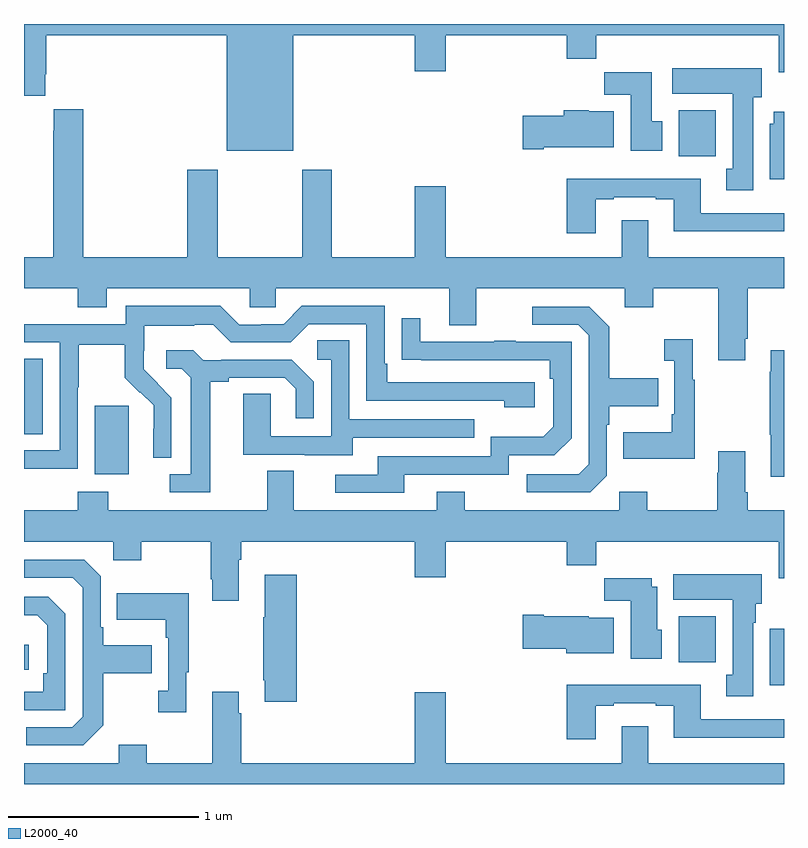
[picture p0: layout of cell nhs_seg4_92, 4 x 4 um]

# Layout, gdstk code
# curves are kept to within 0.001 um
import gdstk
lib = gdstk.Library(unit=1e-6, precision=1e-09)
def R(c, l, rs):  # rectangles x0, y0, x1, y1
    for r in rs: c.add(gdstk.rectangle(r[:2], r[2:], *l))
def P(c, l, *ps):  # polygons
    for p in ps: c.add(gdstk.Polygon(p, *l))
L2000_40 = (2000, 40)

nhs_seg4_92 = lib.new_cell('nhs_seg4_92')
R(nhs_seg4_92, L2000_40, [(118.925,773.42,119,773.716), (115,773.502,115.024,773.632), (118.445,773.54,118.642,773.782), (115.373,774.53,115.552,774.891), (115,774.742,115.099,775.139), (118.445,776.204,118.642,776.446)])
P(nhs_seg4_92, L2000_40, [(116.416,776.84),(117.056,776.84),(117.056,776.652),(117.22,776.652),(117.22,776.84),(117.857,776.84),(117.857,776.716),(118.013,776.716),(118.013,776.84),(118.973,776.84),(118.973,776.646),(119,776.646),(119,776.9),(115,776.9),(115,776.523),(115.111,776.523),(115.111,776.635),(115.118,776.635),(115.118,776.84),(116.066,776.84),(116.066,776.234),(116.416,776.234)],
  [(118.837,776.514),(118.882,776.514),(118.882,776.668),(118.413,776.668),(118.413,776.534),(118.73,776.534),(118.73,776.138),(118.697,776.138),(118.697,776.025),(118.837,776.025)],
  [(118.36,776.388),(118.303,776.388),(118.303,776.647),(118.054,776.647),(118.054,776.528),(118.193,776.528),(118.193,776.232),(118.36,776.232)],
  [(118.795,775.243),(118.808,775.243),(118.808,775.508),(119,775.508),(119,775.672),(118.285,775.672),(118.285,775.867),(118.145,775.867),(118.145,775.672),(117.22,775.672),(117.22,776.047),(117.056,776.047),(117.056,775.672),(116.619,775.672),(116.619,776.134),(116.464,776.134),(116.464,775.672),(116.019,775.672),(116.019,776.134),(115.859,776.134),(115.859,775.672),(115.313,775.672),(115.313,776.452),(115.157,776.452),(115.157,776.339),(115.153,776.339),(115.153,775.672),(115,775.672),(115,775.508),(115.283,775.508),(115.283,775.409),(115.435,775.409),(115.435,775.508),(116.187,775.508),(116.187,775.41),(116.325,775.41),(116.325,775.508),(117.239,775.508),(117.239,775.314),(117.379,775.314),(117.379,775.508),(118.163,775.508),(118.163,775.409),(118.311,775.409),(118.311,775.508),(118.655,775.508),(118.655,775.131),(118.795,775.131)],
  [(117.736,776.252),(118.105,776.252),(118.105,776.44),(117.972,776.44),(117.972,776.446),(117.842,776.446),(117.842,776.418),(117.624,776.418),(117.624,776.24),(117.736,776.24)],
  [(119,776.437),(118.946,776.437),(118.946,776.376),(118.925,776.376),(118.925,776.084),(119,776.084)],
  [(118.009,775.977),(118.105,775.977),(118.105,775.989),(118.325,775.989),(118.325,775.977),(118.421,775.977),(118.421,775.808),(119,775.808),(119,775.905),(118.561,775.905),(118.561,776.086),(117.857,776.086),(117.857,775.8),(118.009,775.8)],
  [(115.284,774.988),(115.287,774.988),(115.287,775.212),(115.531,775.212),(115.531,775.037),(115.608,774.96),(115.611,774.963),(115.682,774.893),(115.682,774.77),(115.68,774.77),(115.68,774.616),(115.776,774.616),(115.776,774.934),(115.63,775.082),(115.63,775.179),(115.632,775.179),(115.632,775.313),(115.895,775.313),(115.895,775.317),(115.995,775.317),(116.088,775.224),(116.403,775.224),(116.499,775.32),(116.802,775.32),(116.802,774.918),(117.527,774.918),(117.527,774.884),(117.688,774.884),(117.688,775.014),(116.911,775.014),(116.911,775.111),(116.898,775.111),(116.898,775.416),(116.463,775.416),(116.367,775.32),(116.249,775.32),(116.249,775.317),(116.133,775.317),(116.033,775.417),(115.536,775.417),(115.536,775.32),(115,775.32),(115,775.224),(115.188,775.224),(115.188,774.657),(115,774.657),(115,774.559),(115.284,774.559)],
  [(118.068,774.522),(118.068,774.791),(118.081,774.791),(118.081,774.887),(118.337,774.887),(118.337,775.035),(118.081,775.035),(118.081,775.307),(117.975,775.413),(117.675,775.413),(117.675,775.317),(117.918,775.317),(117.972,775.263),(117.972,774.582),(117.921,774.531),(117.645,774.531),(117.645,774.435),(117.981,774.435)],
  [(117.001,774.528),(117.552,774.528),(117.552,774.63),(117.792,774.63),(117.882,774.72),(117.882,775.227),(117.587,775.227),(117.587,775.232),(117.475,775.232),(117.475,775.227),(117.085,775.227),(117.085,775.351),(116.989,775.351),(116.989,775.132),(117.766,775.131),(117.766,775.034),(117.786,775.034),(117.786,774.78),(117.733,774.727),(117.456,774.727),(117.456,774.624),(116.861,774.624),(116.861,774.528),(116.637,774.528),(116.637,774.432),(117.001,774.432)],
  [(118.531,775.027),(118.519,775.027),(118.519,775.24),(118.371,775.24),(118.371,775.127),(118.422,775.127),(118.422,774.847),(118.41,774.847),(118.41,774.751),(118.153,774.751),(118.153,774.611),(118.531,774.611)],
  [(116.731,774.723),(117.371,774.723),(117.371,774.819),(116.712,774.819),(116.712,775.235),(116.544,775.235),(116.544,775.134),(116.616,775.134),(116.616,774.729),(116.298,774.729),(116.298,774.953),(116.153,774.953),(116.153,774.633),(116.477,774.633),(116.477,774.629),(116.731,774.629)],
  [(119,775.183),(118.931,775.183),(118.931,775.07),(118.924,775.07),(118.924,774.739),(118.931,774.739),(118.931,774.516),(119,774.516)],
  [(115.981,775.016),(116.077,775.016),(116.077,775.038),(116.372,775.038),(116.429,774.981),(116.429,774.825),(116.526,774.825),(116.526,775.018),(116.41,775.134),(116.038,775.134),(116.038,775.131),(115.944,775.131),(115.892,775.183),(115.749,775.183),(115.749,775.086),(115.83,775.086),(115.877,775.039),(115.877,774.531),(115.767,774.531),(115.767,774.435),(115.981,774.435)],
  [(116.131,774.08),(116.144,774.08),(116.144,774.176),(117.056,774.176),(117.056,773.988),(117.22,773.988),(117.22,774.176),(117.857,774.176),(117.857,774.052),(118.013,774.052),(118.013,774.176),(118.973,774.176),(118.973,773.982),(119,773.982),(119,774.34),(118.808,774.34),(118.808,774.436),(118.795,774.436),(118.795,774.652),(118.655,774.652),(118.655,774.539),(118.648,774.539),(118.648,774.34),(118.281,774.34),(118.281,774.439),(118.134,774.439),(118.134,774.34),(117.321,774.34),(117.321,774.439),(117.173,774.439),(117.173,774.34),(116.419,774.34),(116.419,774.548),(116.279,774.548),(116.279,774.34),(115.443,774.34),(115.443,774.439),(115.283,774.439),(115.283,774.34),(115,774.34),(115,774.176),(115.47,774.176),(115.47,774.077),(115.617,774.077),(115.617,774.176),(115.984,774.176),(115.984,773.977),(115.991,773.977),(115.991,773.865),(116.131,773.865)],
  [(115.417,773.209),(115.417,773.482),(115.673,773.482),(115.673,773.629),(115.417,773.629),(115.417,773.725),(115.404,773.725),(115.404,773.994),(115.317,774.081),(115,774.081),(115,773.985),(115.257,773.985),(115.308,773.934),(115.308,773.253),(115.254,773.199),(115.011,773.199),(115.011,773.103),(115.311,773.103)],
  [(118.837,773.75),(118.852,773.75),(118.852,773.85),(118.882,773.85),(118.882,774.004),(118.418,774.004),(118.418,773.87),(118.73,773.87),(118.73,773.474),(118.697,773.474),(118.697,773.361),(118.837,773.361)],
  [(116.435,774.001),(116.267,774.001),(116.267,773.777),(116.26,773.777),(116.26,773.446),(116.267,773.446),(116.267,773.334),(116.435,773.334)],
  [(118.357,773.712),(118.333,773.712),(118.333,773.938),(118.303,773.938),(118.303,773.983),(118.054,773.983),(118.054,773.864),(118.193,773.864),(118.193,773.558),(118.357,773.558)],
  [(115.855,773.489),(115.867,773.489),(115.867,773.905),(115.489,773.905),(115.489,773.765),(115.746,773.765),(115.746,773.669),(115.758,773.669),(115.758,773.39),(115.707,773.39),(115.707,773.277),(115.855,773.277)],
  [(115.218,773.796),(115.128,773.886),(115,773.886),(115,773.789),(115.069,773.789),(115.122,773.736),(115.122,773.482),(115.102,773.482),(115.102,773.385),(115,773.385),(115,773.289),(115.218,773.289)],
  [(118.105,773.776),(117.972,773.776),(117.972,773.782),(117.736,773.782),(117.736,773.79),(117.624,773.79),(117.624,773.612),(117.854,773.612),(117.854,773.588),(118.105,773.588)],
  [(118.009,773.313),(118.105,773.313),(118.105,773.325),(118.325,773.325),(118.325,773.313),(118.421,773.313),(118.421,773.144),(119,773.144),(119,773.241),(118.561,773.241),(118.561,773.422),(117.857,773.422),(117.857,773.136),(118.009,773.136)],
  [(119,773.008),(118.285,773.008),(118.285,773.203),(118.145,773.203),(118.145,773.008),(117.22,773.008),(117.22,773.383),(117.056,773.383),(117.056,773.008),(116.144,773.008),(116.144,773.273),(116.131,773.273),(116.131,773.386),(115.991,773.386),(115.991,773.008),(115.647,773.008),(115.647,773.107),(115.499,773.107),(115.499,773.008),(115,773.008),(115,772.9),(119,772.9)])

lib.write_gds('nhs_seg4_92.gds')
